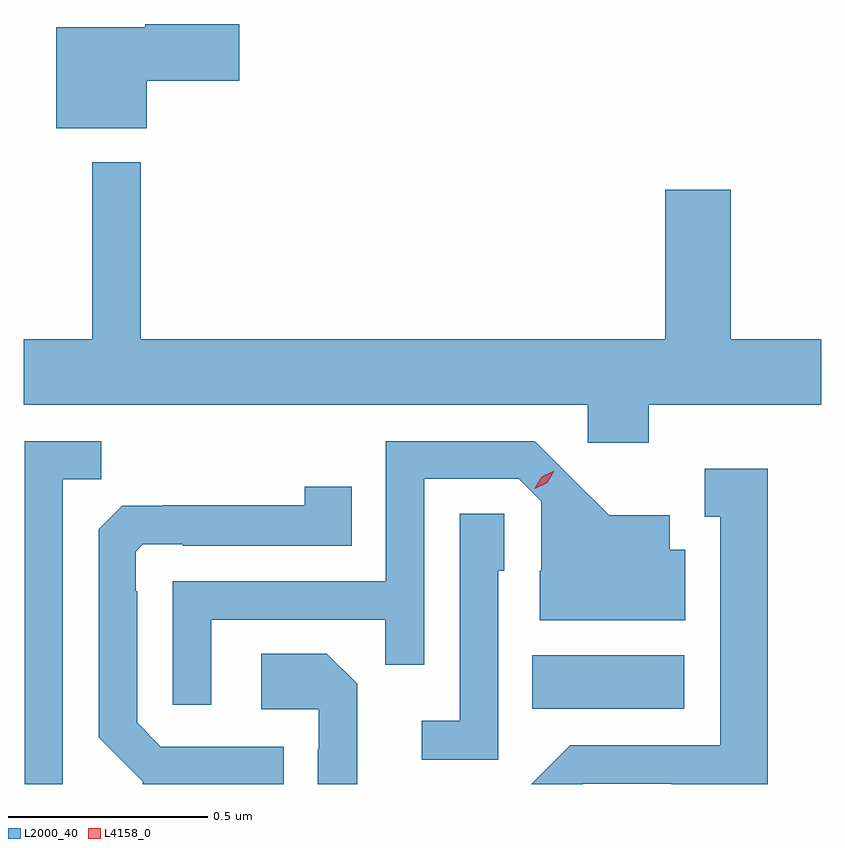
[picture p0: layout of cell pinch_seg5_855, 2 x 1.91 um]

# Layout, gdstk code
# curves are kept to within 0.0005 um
import gdstk
lib = gdstk.Library(unit=1e-6, precision=1e-09)
def R(c, l, rs):  # rectangles x0, y0, x1, y1
    for r in rs: c.add(gdstk.rectangle(r[:2], r[2:], *l))
def P(c, l, *ps):  # polygons
    for p in ps: c.add(gdstk.Polygon(p, *l))
L2000_40 = (2000, 40)
L4158_0 = (4158, 0)

pinch_seg5_855 = lib.new_cell('pinch_seg5_855')
R(pinch_seg5_855, L2000_40, [(788.05,875.978,788.431,876.112)])
P(pinch_seg5_855, L2000_40, [(787.084,877.553),(787.315,877.553),(787.315,877.695),(787.08,877.695),(787.08,877.687),(786.857,877.687),(786.857,877.433),(787.084,877.433)],
  [(788.342,876.74),(788.775,876.74),(788.775,876.904),(788.548,876.904),(788.548,877.279),(788.384,877.279),(788.384,876.904),(787.069,876.904),(787.069,877.348),(786.947,877.348),(786.947,876.904),(786.775,876.904),(786.775,876.74),(788.19,876.74),(788.19,876.645),(788.342,876.645)],
  [(786.873,876.553),(786.969,876.553),(786.969,876.648),(786.777,876.648),(786.777,875.789),(786.873,875.789)],
  [(787.245,876.201),(787.681,876.201),(787.681,876.088),(787.779,876.088),(787.779,876.555),(788.016,876.555),(788.073,876.498),(788.073,876.324),(788.069,876.324),(788.069,876.2),(788.434,876.2),(788.434,876.376),(788.395,876.376),(788.395,876.463),(788.243,876.463),(788.056,876.648),(787.683,876.648),(787.683,876.297),(787.149,876.297),(787.149,875.988),(787.245,875.988)],
  [(788.178,875.79),(788.4,875.79),(788.4,875.789),(788.641,875.789),(788.641,876.58),(788.483,876.58),(788.483,876.459),(788.522,876.459),(788.522,875.886),(788.145,875.886),(788.048,875.789),(788.177,875.789)],
  [(787.427,875.883),(787.119,875.883),(787.059,875.943),(787.059,876.272),(787.056,876.272),(787.056,876.372),(787.074,876.39),(787.174,876.39),(787.174,876.387),(787.598,876.387),(787.598,876.535),(787.48,876.535),(787.48,876.488),(787.123,876.488),(787.123,876.487),(787.022,876.487),(786.963,876.428),(786.963,875.906),(787.073,875.796),(787.073,875.789),(787.427,875.789)],
  [(787.965,876.324),(787.98,876.324),(787.98,876.467),(787.869,876.467),(787.869,875.947),(787.773,875.947),(787.773,875.85),(787.965,875.85)],
  [(787.611,876.04),(787.535,876.116),(787.371,876.116),(787.371,875.976),(787.515,875.976),(787.515,875.876),(787.512,875.876),(787.512,875.789),(787.611,875.789)])
P(pinch_seg5_855, L4158_0, [(788.057,876.53),(788.057,876.531),(788.074,876.56),(788.105,876.575),(788.105,876.575),(788.105,876.575),(788.088,876.545),(788.057,876.53)])

lib.write_gds('pinch_seg5_855.gds')
